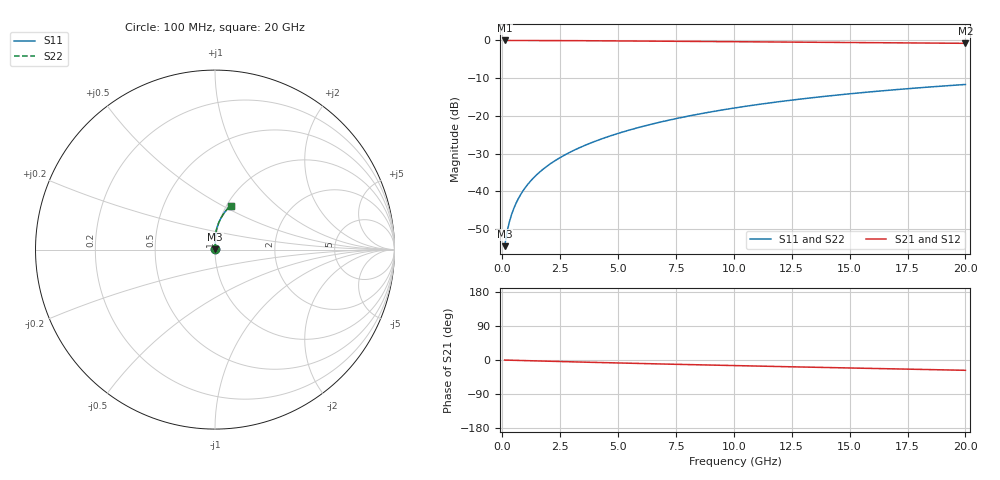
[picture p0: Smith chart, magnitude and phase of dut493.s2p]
! Touchstone file exported from HFSS 2024.1.0
!  File:  C:/UserFiles/LocalFiles/RDL_TSV_Batchsim/temp_RDL_top_493_1779678750.aedt
!  Generated:  11:14:40 AM May 25, 2026
!  Design:  RDL_top
!  Project:  temp_RDL_top_493_1779678750
!  Setup:  Setup1
!  Solution:  Sweep
! Variables:
!  dtsv = 10.80580581um
!  hbump = 3um
!  htsv = 86.54um
!  ldown = 100um
!  lrdl = 365.56um
!  p = 40
!  p1 = 53.95um
!  rhole = 1um
!  t = 450um
!  tdown = 3.915915916um
!  trdl = 4.27um
!  wdown = 15.38538539um
!  wrdl = 24.91um
# GHz S MA R 50.000000
! Terminal data exported
! Port[1] = Box2_T1
! Port[2] = Box2_T2
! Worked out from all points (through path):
!   200 points, 100 MHz to 20 GHz, reference 50 ohm
!   highest |S21| = -0.01 dB at 100 MHz (marker M1); lowest = -0.8 dB at 20 GHz (marker M2)
!   group delay of S21, straight-line fit = 3.73 ps
!   lowest |S11| = -54.6 dB at 100 MHz (marker M3), VSWR 1.00, Z = 50.1 + j0.123 ohm
!   |S11| at or under -10 dB: start of sweep to end of sweep
!   |S22| runs from -54.6 to -11.7 dB; largest |S21 - S12| = 2.6e-15
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0.1  0.001867 40.9  0.9986 -0.2  0.9986 -0.2  0.001867 40.9
! Gamma 0 0 0 0
! Port Impedance 50 0 50 0
0.2  0.002823 58.1  0.9985 -0.3  0.9985 -0.3  0.002823 58.1
0.3  0.003858 65.9  0.9984 -0.5  0.9984 -0.5  0.003858 65.9
0.4  0.004898 70.5  0.9982 -0.7  0.9982 -0.7  0.004899 70.5
0.5  0.005941 73.6  0.9981 -0.8  0.9981 -0.8  0.005941 73.6
0.6  0.006988 75.9  0.998 -1.0  0.998 -1.0  0.006988 75.9
0.8  0.009101 79.1  0.9978 -1.3  0.9978 -1.3  0.009102 79.1
1.1  0.01232 82.1  0.9974 -1.8  0.9974 -1.8  0.01232 82.1
1.5  0.01669 84.5  0.9968 -2.4  0.9968 -2.4  0.01669 84.5
1.8  0.02002 85.7  0.9961 -2.9  0.9961 -2.9  0.02002 85.6
2.1  0.02339 86.5  0.9954 -3.4  0.9954 -3.4  0.02339 86.5
2.7  0.03028 87.7  0.9937 -4.3  0.9937 -4.3  0.03028 87.7
3.5  0.03975 88.5  0.991 -5.6  0.991 -5.6  0.03975 88.5
4.2  0.04832 88.9  0.9883 -6.7  0.9883 -6.7  0.04832 88.8
5  0.05844 88.9  0.9849 -7.8  0.9849 -7.8  0.05843 88.9
6.8  0.08224 88.0  0.9767 -10.4  0.9767 -10.4  0.08222 87.9
8.4  0.1042 86.4  0.9691 -12.6  0.9691 -12.6  0.1042 86.4
10.1  0.128 84.3  0.9611 -14.9  0.9611 -14.9  0.128 84.3
11.7  0.1504 82.2  0.9537 -16.9  0.9537 -16.9  0.1504 82.1
13.4  0.174 79.8  0.9458 -19.1  0.9458 -19.1  0.1739 79.7
16.7  0.2184 75.1  0.9306 -23.2  0.9306 -23.2  0.2183 75.0
20  0.2604 70.5  0.9152 -27.2  0.9152 -27.2  0.2603 70.4
